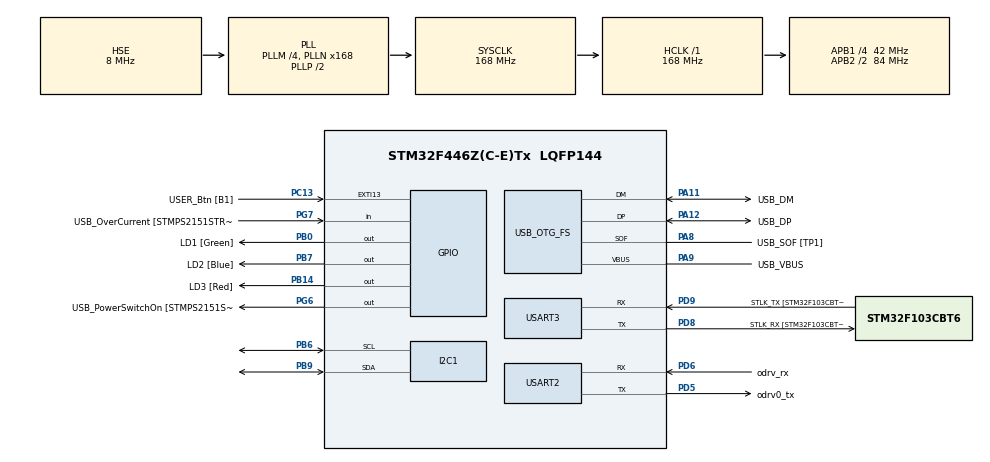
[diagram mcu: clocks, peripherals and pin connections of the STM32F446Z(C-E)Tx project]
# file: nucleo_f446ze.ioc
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Mcu.Family=STM32F4
NVIC.USART3_IRQn=true\:5\:0\:false\:false\:true\:true\:true\:true
PH0-OSC_IN.Signal=RCC_OSC_IN
Dma.USART3_RX.1.Mode=DMA_CIRCULAR
RCC.CortexFreq_Value=168000000
PG6.Signal=GPIO_Output
NVIC.I2C1_EV_IRQn=true\:5\:0\:false\:false\:true\:true\:true\:true
PB14.GPIO_Label=LD3 [Red]
PG6.GPIO_Label=USB_PowerSwitchOn [STMPS2151STR_EN]
PA14.GPIO_Label=TCK
RCC.SYSCLKSourceVirtual=RCC_SYSCLKSOURCE_PLLCLK
PA11.Mode=Device_Only
PB0.GPIO_Label=LD1 [Green]
PC13.GPIO_Label=USER_Btn [B1]
PD6.GPIO_Label=odrv_rx
PD9.Mode=Asynchronous
RCC.SYSCLKSource=RCC_SYSCLKSOURCE_PLLCLK
ProjectManager.StackSize=0x400
VP_FREERTOS_VS_CMSIS_V2.Mode=CMSIS_V2
PA12.Signal=USB_OTG_FS_DP
Dma.USART3_RX.1.MemInc=DMA_MINC_ENABLE
Dma.USART3_RX.1.Instance=DMA1_Stream1
RCC.HCLKFreq_Value=168000000
RCC.APB2TimFreq_Value=168000000
PB6.Signal=I2C1_SCL
Dma.USART3_RX.1.PeriphDataAlignment=DMA_PDATAALIGN_BYTE
PB6.Mode=I2C
PD8.Signal=USART3_TX
RCC.AHBFreq_Value=168000000
PH0-OSC_IN.Mode=HSE-External-Clock-Source
PH0-OSC_IN.GPIO_Label=MCO [STM32F103CBT6_PA8]
PD5.Mode=Asynchronous
RCC.HSE_VALUE=8000000
FREERTOS.configUSE_TIMERS=1
RCC.PLLMUL=RCC_PLL_MUL9
PC14-OSC32_IN.Mode=LSE-External-Oscillator
FREERTOS.INCLUDE_xQueueGetMutexHolder=1
Dma.USART3_RX.1.Priority=DMA_PRIORITY_LOW
PA14.Mode=Serial_Wire
VP_SYS_VS_tim1.Mode=TIM1
PA10.GPIO_Label=USB_ID
Dma.USART3_TX.0.FIFOMode=DMA_FIFOMODE_DISABLE
PB7.Signal=GPIO_Output
PA8.Signal=USB_OTG_FS_SOF
Dma.USART3_TX.0.Mode=DMA_NORMAL
NVIC.I2C1_ER_IRQn=true\:5\:0\:false\:false\:true\:true\:true\:true
FREERTOS.configTOTAL_HEAP_SIZE=50000
Dma.USART3_TX.0.PeriphInc=DMA_PINC_DISABLE
Dma.USART3_TX.0.MemDataAlignment=DMA_MDATAALIGN_BYTE
PH1-OSC_OUT.Mode=HSE-External-Clock-Source
PB7.GPIO_Label=LD2 [Blue]
PB9.Signal=I2C1_SDA
Mcu.Package=LQFP144
Dma.USART3_RX.1.FIFOMode=DMA_FIFOMODE_DISABLE
NVIC.TimeBase=TIM1_UP_TIM10_IRQn
USART2.VirtualMode=VM_ASYNC
Dma.USART3_RX.1.Direction=DMA_PERIPH_TO_MEMORY
PD5.GPIO_Label=odrv0_tx
NVIC.TimeBaseIP=TIM1
PA10.Signal=USB_OTG_FS_ID
USB_OTG_FS.VirtualMode=Device_Only
Dma.USART3_TX.0.PeriphDataAlignment=DMA_PDATAALIGN_BYTE
RCC.APB2CLKDivider=RCC_HCLK_DIV2
Dma.Request1=USART3_RX
RCC.APB1TimFreq_Value=84000000
PD6.Signal=USART2_RX
Dma.Request0=USART3_TX
PC15-OSC32_OUT.Mode=LSE-External-Oscillator
Dma.USART3_TX.0.Instance=DMA1_Stream3
FREERTOS.Tasks01=defaultTask,16,1500,StartDefaultTask,Default,NULL,Dynamic,NULL,NULL
PG7.Signal=GPIO_Input
PD9.GPIO_Label=STLK_TX [STM32F103CBT6_PA2]
Dma.USART3_TX.0.MemInc=DMA_MINC_ENABLE
PC13.Signal=GPXTI13
PA9.GPIO_Label=USB_VBUS
FREERTOS.INCLUDE_vTaskDelayUntil=1
PA11.GPIO_Label=USB_DM
Dma.USART3_RX.1.MemDataAlignment=DMA_MDATAALIGN_BYTE
PD9.Signal=USART3_RX
PD5.Signal=USART2_TX
NVIC.DMA1_Stream1_IRQn=true\:5\:0\:false\:false\:true\:true\:false\:true
RCC.APB1CLKDivider=RCC_HCLK_DIV4
PC14-OSC32_IN.Signal=RCC_OSC32_IN
PD6.Mode=Asynchronous
Dma.USART3_TX.0.Direction=DMA_MEMORY_TO_PERIPH
NVIC.USART2_IRQn=true\:5\:0\:false\:false\:true\:true\:true\:true
PA12.GPIO_Label=USB_DP
FREERTOS.INCLUDE_uxTaskGetStackHighWaterMark=1
PD8.GPIO_Label=STLK_RX [STM32F103CBT6_PA3]
PA13.Signal=SYS_JTMS-SWDIO
PA9.Mode=Activate_VBUS
PA8.GPIO_Label=USB_SOF [TP1]
ProjectManager.TargetToolchain=Makefile
I2C1.I2C_Mode=I2C_Fast
PB9.Mode=I2C
PA9.Signal=USB_OTG_FS_VBUS
RCC.USBFreq_Value=48000000
PC15-OSC32_OUT.Signal=RCC_OSC32_OUT
PD8.Mode=Asynchronous
PB14.Signal=GPIO_Output
board=NUCLEO-F446ZE
RCC.VCOOutputFreq_Value=336000000
FREERTOS.INCLUDE_eTaskGetState=1
RCC.APB2Freq_Value=84000000
RCC.PRESCALERUSB=RCC_USBCLKSOURCE_PLL_DIV1_5
PG7.GPIO_Label=USB_OverCurrent [STMPS2151STR_FAULT]
PH1-OSC_OUT.Signal=RCC_OSC_OUT
Dma.USART3_TX.0.Priority=DMA_PRIORITY_LOW
PA13.Mode=Serial_Wire
Mcu.Name=STM32F446Z(C-E)Tx
FREERTOS.INCLUDE_xSemaphoreGetMutexHolder=0
PA13.GPIO_Label=TMS
RCC.48MHZClocksFreq_Value=24000000
RCC.SYSCLKFreq_VALUE=168000000
FREERTOS.configUSE_COUNTING_SEMAPHORES=1
PA12.Mode=Device_Only
USART3.VirtualMode=VM_ASYNC
PA11.Signal=USB_OTG_FS_DM
PA14.Signal=SYS_JTCK-SWCLK
ProjectManager.HeapSize=0x200
FREERTOS.configUSE_RECURSIVE_MUTEXES=1
NVIC.TIM1_UP_TIM10_IRQn=true\:0\:0\:false\:false\:true\:false\:false\:true
RCC.HSI_VALUE=16000000
RCC.PLLQ=7
NVIC.PriorityGroup=NVIC_PRIORITYGROUP_4
RCC.PLLM=4
RCC.PLLN=168
NVIC.DMA1_Stream3_IRQn=true\:5\:0\:false\:false\:true\:true\:false\:true
PA8.Mode=Activate_SOF_FS
RCC.APB1Freq_Value=42000000
PB0.Signal=GPIO_Output
Dma.USART3_RX.1.PeriphInc=DMA_PINC_DISABLE

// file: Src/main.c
/* USER CODE BEGIN Header */
/**
  ******************************************************************************
  * @file           : main.c
  * @brief          : Main program body
  ******************************************************************************
  * @attention
  *
  * <h2><center>&copy; Copyright (c) 2020 STMicroelectronics.
  * All rights reserved.</center></h2>
  *
  * This software component is licensed by ST under Ultimate Liberty license
  * SLA0044, the "License"; You may not use this file except in compliance with
  * the License. You may obtain a copy of the License at:
  *                             www.st.com/SLA0044
  *
  ******************************************************************************
  */
/* USER CODE END Header */

#include "main.h"

#include "cmsis_os.h"

/* USER CODE BEGIN Includes */
#include "FreeRTOS.h"
#include "mxr_allocators.h"
#include "stdio.h"
#include "task.h"
// #include "main_app.hpp"
#include <pthread.h>
/* USER CODE END Includes */

I2C_HandleTypeDef hi2c1;

UART_HandleTypeDef huart2;
UART_HandleTypeDef huart3;
DMA_HandleTypeDef hdma_usart3_tx;
DMA_HandleTypeDef hdma_usart3_rx;

PCD_HandleTypeDef hpcd_USB_OTG_FS;

/* Definitions for defaultTask */
osThreadId_t defaultTaskHandle;
const osThreadAttr_t defaultTask_attributes = {
    .name = "defaultTask",
    .priority = (osPriority_t)osPriorityBelowNormal,
    .stack_size = 256 * 4};

extern bool applications_started;
/* USER CODE BEGIN PV */

mxr_allocator_t mxr_allocator;

/* USER CODE END PV */

void SystemClock_Config(void);
static void MX_GPIO_Init(void);
static void MX_DMA_Init(void);
static void MX_USART3_UART_Init(void);
static void MX_USB_OTG_FS_PCD_Init(void);
static void MX_I2C1_Init(void);
static void MX_USART2_UART_Init(void);
void StartDefaultTask(void *argument);

/* USER CODE BEGIN PFP */
#define BUFSIZE 4096
char buffer[BUFSIZE];
extern struct netif gnetif;
UART_HandleTypeDef *printf_uart = NULL;
/* USER CODE END PFP */

/* USER CODE BEGIN 0 */
int __io_putchar(int ch) {
    uint8_t c[1];
    c[0] = ch & 0x00FF;
    if (printf_uart != NULL) {
        HAL_UART_Transmit(printf_uart, &c[0], 1, 10);
    }
    return ch;
}

int _write(int file, char *ptr, int len) {
    int DataIdx;
    for (DataIdx = 0; DataIdx < len; DataIdx++) {
        __io_putchar(*ptr++);
    }
    return len;
}

void __malloc_lock(struct _reent *REENT) {
    vTaskSuspendAll();
}

void __malloc_unlock(struct _reent *REENT) {
    xTaskResumeAll();
}

/* USER CODE END 0 */

int main(void) {

    /* MCU Configuration--------------------------------------------------------*/

    /* Reset of all peripherals, Initializes the Flash interface and the Systick. */
    HAL_Init();

    /* Configure the system clock */
    SystemClock_Config();

    /* Initialize all configured peripherals */
    MX_GPIO_Init();
    MX_DMA_Init();
    MX_USART3_UART_Init();
    MX_USB_OTG_FS_PCD_Init();
    MX_I2C1_Init();
    MX_USART2_UART_Init();
    /* USER CODE BEGIN 2 */
    printf_uart = &huart3;
    /* USER CODE END 2 */

    /* Init scheduler */
    osKernelInitialize();

    /* Create the thread(s) */
    /* creation of defaultTask */
    defaultTaskHandle = osThreadNew(StartDefaultTask, NULL, &defaultTask_attributes);

    /* USER CODE BEGIN RTOS_THREADS */
    /* USER CODE BEGIN 5 */
    printf("Starting Main App\n");
    osDelay(10);
    /* USER CODE END RTOS_THREADS */
    mxr_allocator.malloc = &pvPortMalloc;
    mxr_allocator.free = &vPortFree;
    main_app(NULL, NULL);

    /* Start scheduler */
    osKernelStart();

    /* We should never get here as control is now taken by the scheduler */
    /* Infinite loop */
    while (1) {

    }
}

void SystemClock_Config(void) {
    RCC_OscInitTypeDef RCC_OscInitStruct = {0};
    RCC_ClkInitTypeDef RCC_ClkInitStruct = {0};
    RCC_PeriphCLKInitTypeDef PeriphClkInitStruct = {0};

    /** Configure the main internal regulator output voltage
  */
    __HAL_RCC_PWR_CLK_ENABLE();
    __HAL_PWR_VOLTAGESCALING_CONFIG(PWR_REGULATOR_VOLTAGE_SCALE1);
    /** Initializes the CPU, AHB and APB busses clocks
  */
    RCC_OscInitStruct.OscillatorType = RCC_OSCILLATORTYPE_HSE;
    RCC_OscInitStruct.HSEState = RCC_HSE_BYPASS;
    RCC_OscInitStruct.PLL.PLLState = RCC_PLL_ON;
    RCC_OscInitStruct.PLL.PLLSource = RCC_PLLSOURCE_HSE;
    RCC_OscInitStruct.PLL.PLLM = 4;
    RCC_OscInitStruct.PLL.PLLN = 168;
    RCC_OscInitStruct.PLL.PLLP = RCC_PLLP_DIV2;
    RCC_OscInitStruct.PLL.PLLQ = 7;
    RCC_OscInitStruct.PLL.PLLR = 2;
    if (HAL_RCC_OscConfig(&RCC_OscInitStruct) != HAL_OK) {
        Error_Handler();
    }
    /** Initializes the CPU, AHB and APB busses clocks
  */
    RCC_ClkInitStruct.ClockType = RCC_CLOCKTYPE_HCLK | RCC_CLOCKTYPE_SYSCLK | RCC_CLOCKTYPE_PCLK1 | RCC_CLOCKTYPE_PCLK2;
    RCC_ClkInitStruct.SYSCLKSource = RCC_SYSCLKSOURCE_PLLCLK;
    RCC_ClkInitStruct.AHBCLKDivider = RCC_SYSCLK_DIV1;
    RCC_ClkInitStruct.APB1CLKDivider = RCC_HCLK_DIV4;
    RCC_ClkInitStruct.APB2CLKDivider = RCC_HCLK_DIV2;

    if (HAL_RCC_ClockConfig(&RCC_ClkInitStruct, FLASH_LATENCY_5) != HAL_OK) {
        Error_Handler();
    }
    PeriphClkInitStruct.PeriphClockSelection = RCC_PERIPHCLK_CLK48;
    PeriphClkInitStruct.Clk48ClockSelection = RCC_CLK48CLKSOURCE_PLLQ;
    if (HAL_RCCEx_PeriphCLKConfig(&PeriphClkInitStruct) != HAL_OK) {
        Error_Handler();
    }
}

static void MX_I2C1_Init(void) {

    hi2c1.Instance = I2C1;
    hi2c1.Init.ClockSpeed = 400000;
    hi2c1.Init.DutyCycle = I2C_DUTYCYCLE_2;
    hi2c1.Init.OwnAddress1 = 0;
    hi2c1.Init.AddressingMode = I2C_ADDRESSINGMODE_7BIT;
    hi2c1.Init.DualAddressMode = I2C_DUALADDRESS_DISABLE;
    hi2c1.Init.OwnAddress2 = 0;
    hi2c1.Init.GeneralCallMode = I2C_GENERALCALL_DISABLE;
    hi2c1.Init.NoStretchMode = I2C_NOSTRETCH_DISABLE;
    if (HAL_I2C_Init(&hi2c1) != HAL_OK) {
        Error_Handler();
    }
}

static void MX_USART2_UART_Init(void) {

    huart2.Instance = USART2;
    huart2.Init.BaudRate = 115200;
    huart2.Init.WordLength = UART_WORDLENGTH_8B;
    huart2.Init.StopBits = UART_STOPBITS_1;
    huart2.Init.Parity = UART_PARITY_NONE;
    huart2.Init.Mode = UART_MODE_TX_RX;
    huart2.Init.HwFlowCtl = UART_HWCONTROL_NONE;
    huart2.Init.OverSampling = UART_OVERSAMPLING_16;
    if (HAL_UART_Init(&huart2) != HAL_OK) {
        Error_Handler();
    }
}

static void MX_USART3_UART_Init(void) {

    huart3.Instance = USART3;
    huart3.Init.BaudRate = 115200;
    huart3.Init.WordLength = UART_WORDLENGTH_8B;
    huart3.Init.StopBits = UART_STOPBITS_1;
    huart3.Init.Parity = UART_PARITY_NONE;
    huart3.Init.Mode = UART_MODE_TX_RX;
    huart3.Init.HwFlowCtl = UART_HWCONTROL_NONE;
    huart3.Init.OverSampling = UART_OVERSAMPLING_16;
    if (HAL_UART_Init(&huart3) != HAL_OK) {
        Error_Handler();
    }
}

static void MX_USB_OTG_FS_PCD_Init(void) {

    hpcd_USB_OTG_FS.Instance = USB_OTG_FS;
    hpcd_USB_OTG_FS.Init.dev_endpoints = 6;
    hpcd_USB_OTG_FS.Init.speed = PCD_SPEED_FULL;
    hpcd_USB_OTG_FS.Init.dma_enable = DISABLE;
    hpcd_USB_OTG_FS.Init.phy_itface = PCD_PHY_EMBEDDED;
    hpcd_USB_OTG_FS.Init.Sof_enable = ENABLE;
    hpcd_USB_OTG_FS.Init.low_power_enable = DISABLE;
    hpcd_USB_OTG_FS.Init.lpm_enable = DISABLE;
    hpcd_USB_OTG_FS.Init.vbus_sensing_enable = ENABLE;
    hpcd_USB_OTG_FS.Init.use_dedicated_ep1 = DISABLE;
    if (HAL_PCD_Init(&hpcd_USB_OTG_FS) != HAL_OK) {
        Error_Handler();
    }
}

static void MX_DMA_Init(void) {
    /* DMA controller clock enable */
    __HAL_RCC_DMA1_CLK_ENABLE();

    /* DMA interrupt init */
    /* DMA1_Stream1_IRQn interrupt configuration */
    HAL_NVIC_SetPriority(DMA1_Stream1_IRQn, 5, 0);
    HAL_NVIC_EnableIRQ(DMA1_Stream1_IRQn);
    /* DMA1_Stream3_IRQn interrupt configuration */
    HAL_NVIC_SetPriority(DMA1_Stream3_IRQn, 5, 0);
    HAL_NVIC_EnableIRQ(DMA1_Stream3_IRQn);
}

static void MX_GPIO_Init(void) {
    GPIO_InitTypeDef GPIO_InitStruct = {0};

    /* GPIO Ports Clock Enable */
    __HAL_RCC_GPIOC_CLK_ENABLE();
    __HAL_RCC_GPIOH_CLK_ENABLE();
    __HAL_RCC_GPIOB_CLK_ENABLE();
    __HAL_RCC_GPIOD_CLK_ENABLE();
    __HAL_RCC_GPIOG_CLK_ENABLE();
    __HAL_RCC_GPIOA_CLK_ENABLE();

    /*Configure GPIO pin Output Level */
    HAL_GPIO_WritePin(GPIOB, LD1_Pin | LD3_Pin | LD2_Pin, GPIO_PIN_RESET);

    /*Configure GPIO pin Output Level */
    HAL_GPIO_WritePin(USB_PowerSwitchOn_GPIO_Port, USB_PowerSwitchOn_Pin, GPIO_PIN_RESET);

    /*Configure GPIO pin : USER_Btn_Pin */
    GPIO_InitStruct.Pin = USER_Btn_Pin;
    GPIO_InitStruct.Mode = GPIO_MODE_IT_RISING;
    GPIO_InitStruct.Pull = GPIO_NOPULL;
    HAL_GPIO_Init(USER_Btn_GPIO_Port, &GPIO_InitStruct);

    /*Configure GPIO pins : LD1_Pin LD3_Pin LD2_Pin */
    GPIO_InitStruct.Pin = LD1_Pin | LD3_Pin | LD2_Pin;
    GPIO_InitStruct.Mode = GPIO_MODE_OUTPUT_PP;
    GPIO_InitStruct.Pull = GPIO_NOPULL;
    GPIO_InitStruct.Speed = GPIO_SPEED_FREQ_LOW;
    HAL_GPIO_Init(GPIOB, &GPIO_InitStruct);

    /*Configure GPIO pin : USB_PowerSwitchOn_Pin */
    GPIO_InitStruct.Pin = USB_PowerSwitchOn_Pin;
    GPIO_InitStruct.Mode = GPIO_MODE_OUTPUT_PP;
    GPIO_InitStruct.Pull = GPIO_NOPULL;
    GPIO_InitStruct.Speed = GPIO_SPEED_FREQ_LOW;
    HAL_GPIO_Init(USB_PowerSwitchOn_GPIO_Port, &GPIO_InitStruct);

    /*Configure GPIO pin : USB_OverCurrent_Pin */
    GPIO_InitStruct.Pin = USB_OverCurrent_Pin;
    GPIO_InitStruct.Mode = GPIO_MODE_INPUT;
    GPIO_InitStruct.Pull = GPIO_NOPULL;
    HAL_GPIO_Init(USB_OverCurrent_GPIO_Port, &GPIO_InitStruct);
}

void StartDefaultTask(void *argument) {

    for (;;) {
        // printf("Hello\n");
        HAL_GPIO_TogglePin(LD1_GPIO_Port, LD1_Pin);
        osDelay(1000);
    }
    /* USER CODE END 5 */
}

void HAL_TIM_PeriodElapsedCallback(TIM_HandleTypeDef *htim) {
    if (htim->Instance == TIM1) {
        HAL_IncTick();
    }
}

void Error_Handler(void) {
}

/************************ (C) COPYRIGHT STMicroelectronics *****END OF FILE****/
